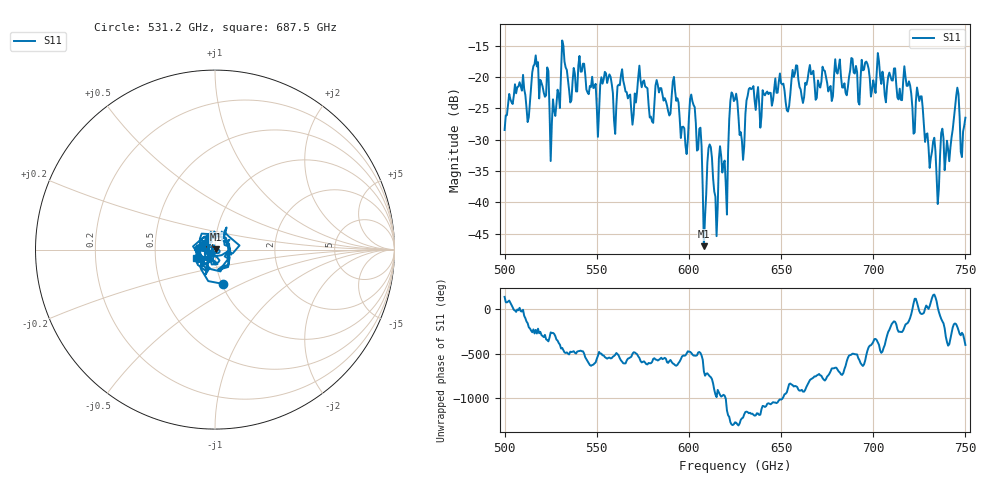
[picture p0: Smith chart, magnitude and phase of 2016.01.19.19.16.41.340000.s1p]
!Created with skrf (http://scikit-rf.org).
# GHz S RI R 50.0
!freq ReS11 ImS11
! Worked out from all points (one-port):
!   401 points, 500 GHz to 750 GHz, reference 50 ohm
!   lowest |S11| = -47.0 dB at 608.1 GHz (marker M1), VSWR 1.01, Z = 50.4 + j0.157 ohm
!   |S11| at or under -10 dB: start of sweep to end of sweep
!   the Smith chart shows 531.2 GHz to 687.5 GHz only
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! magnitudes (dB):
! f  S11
! 500 GHz  -28.4
! 508.8 GHz  -21.4
! 513.1 GHz  -26.4
! 516.9 GHz  -16.5
! 526.2 GHz  -23.5
! 531.2 GHz  -14.1
! 550 GHz  -24.7
! 562.5 GHz  -21.3
! 574.4 GHz  -21.6
! 579.4 GHz  -26.3
! 593.8 GHz  -23.4
! 598.1 GHz  -30.9
! 601.9 GHz  -23.8
! 608.1 GHz  -47.0
! 611.2 GHz  -30.7
! 614.4 GHz  -39.1
! 617.5 GHz  -32.6
! 619.4 GHz  -33.3
! 625 GHz  -23.6
! 628.8 GHz  -30.1
! 633.8 GHz  -21.9
! 653.8 GHz  -25.5
! 656.2 GHz  -18.8
! 687.5 GHz  -18.9
! 718.8 GHz  -21.4
! 735 GHz  -40.3
! 745 GHz  -23.0
! 750 GHz  -26.5
